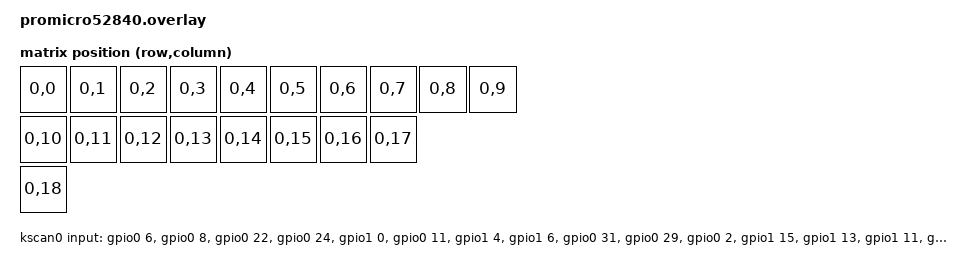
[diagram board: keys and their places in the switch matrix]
#include <dt-bindings/zmk/matrix_transform.h>

/ {
	chosen {
		zmk,kscan = &kscan0;
		zmk,matrix_transform = &default_transform;
		zephyr,display = &oled;
	};

	kscan0: kscan0 {
		compatible = "zmk,kscan-gpio-direct";
		input-gpios

      //left side
      = <&gpio0 6  (GPIO_ACTIVE_LOW | GPIO_PULL_UP)>   // D1   P0.06  |  a
			, <&gpio0 8  (GPIO_ACTIVE_LOW | GPIO_PULL_UP)>   // D0   P0.08  |  b
			// , <&gpio0 17 (GPIO_ACTIVE_LOW | GPIO_PULL_UP)>   // D2   P0.17  |  c
			// , <&gpio0 20 (GPIO_ACTIVE_LOW | GPIO_PULL_UP)>   // D3   P0.20  |  d
			, <&gpio0 22 (GPIO_ACTIVE_LOW | GPIO_PULL_UP)>   // D4   P0.22  |  e
			, <&gpio0 24 (GPIO_ACTIVE_LOW | GPIO_PULL_UP)>   // D5   P0.24  |  f
			, <&gpio1 0  (GPIO_ACTIVE_LOW | GPIO_PULL_UP)>   // D6   P1.00  |  g
			, <&gpio0 11 (GPIO_ACTIVE_LOW | GPIO_PULL_UP)>   // D7   P0.11  |  h
			, <&gpio1 4  (GPIO_ACTIVE_LOW | GPIO_PULL_UP)>   // D8   P1.04  |  i
			, <&gpio1 6  (GPIO_ACTIVE_LOW | GPIO_PULL_UP)>   // D9   P1.06  |  j

      //right side
			, <&gpio0 31 (GPIO_ACTIVE_LOW | GPIO_PULL_UP)>   // D21  P0.31  |  k
			, <&gpio0 29 (GPIO_ACTIVE_LOW | GPIO_PULL_UP)>   // D20  P0.29  |  l
			, <&gpio0 2  (GPIO_ACTIVE_LOW | GPIO_PULL_UP)>   // D19  P0.02  |  m
			, <&gpio1 15 (GPIO_ACTIVE_LOW | GPIO_PULL_UP)>   // D18  P1.15  |  n
      , <&gpio1 13 (GPIO_ACTIVE_LOW | GPIO_PULL_UP)>   // D15  P1.13  |  o
      , <&gpio1 11 (GPIO_ACTIVE_LOW | GPIO_PULL_UP)>   // D14  P1.11  |  p
			, <&gpio0 10 (GPIO_ACTIVE_LOW | GPIO_PULL_UP)>   // D16  P0.10  |  q
			, <&gpio0 9  (GPIO_ACTIVE_LOW | GPIO_PULL_UP)>   // D10  P0.09  |  r

      //additional pins
      , <&gpio1 1  (GPIO_ACTIVE_LOW | GPIO_PULL_UP)>   //      P1.01  |  s
			, <&gpio1 2  (GPIO_ACTIVE_LOW | GPIO_PULL_UP)>   //      P1.02  |  t
			, <&gpio1 7  (GPIO_ACTIVE_LOW | GPIO_PULL_UP)>   //      P1.07  |  u
			;
	};

	default_transform: keymap_transform_0 {
		compatible = "zmk,matrix-transform";
		columns = <19>;
		rows = <1>;
		map = <
			RC(0,0)  RC(0,1)  RC(0,2)  RC(0,3)  RC(0,4)  RC(0,5)  RC(0,6)  RC(0,7)  RC(0,8)  RC(0,9)
			RC(0,10) RC(0,11) RC(0,12) RC(0,13) RC(0,14) RC(0,15) RC(0,16) RC(0,17)
			RC(0,18)
		>;
	};
};

&pro_micro_i2c {
	status = "okay";

	oled: ssd1306@3c {
		compatible = "solomon,ssd1306fb";
		reg = <0x3c>;
		label = "OLED";
		width = <128>;
		height = <64>;
		segment-offset = <0>;
		page-offset = <0>;
		display-offset = <0>;
		multiplex-ratio = <63>;
		segment-remap;
		com-invdir;
		prechargep = <0x22>;
	};
};
